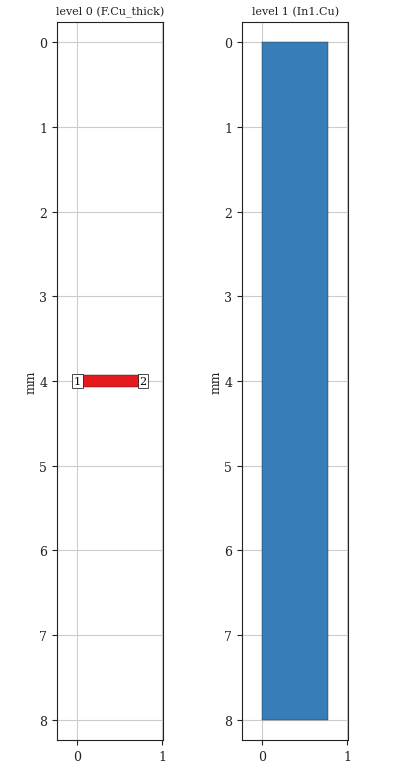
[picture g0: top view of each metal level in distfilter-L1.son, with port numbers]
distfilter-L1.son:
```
FTYP SONPROJ 19 ! Sonnet Project File
VER 18.56
HEADER
LIC antikernel2.1.51813
DAT 10/20/2022 21:59:31
BUILT_BY_CREATED xgeom 18.54 09/23/2022 20:17:08
BUILT_BY_SAVED sonnet 18.56
MDATE 10/20/2022 21:59:31
HDATE 10/20/2022 21:59:31
ANN Created by dxfgeo, Sonnet Software Inc.
END HEADER
DIM
ANG DEG
CAP FF
CON /OH
FREQ GHZ
IND PH
LNG MM
RES OH
END DIM
CONTROL
VARSWP
OPTIONS  -dj
SPEED 0
CACHE_ABS 2
Q_ACC N
END CONTROL
GEO
SYM
TMET "Free Space" 0 FREESPACE 376.7303136 0 0 0
BMET "Free Space" 0 FREESPACE 376.7303136 0 0 0
MET "Copper_1oz+plated_thick_up" 1 TMM 58000000 0.5 0.0432 2
MET "Copper_1oz+plated_thin" 4 NOR 58000000 0.5 0.0432 
MET "Copper_0.5oz_thin" 2 NOR 58000000 0.5 0.0175 
MET "Copper_1oz+plated_thick_down" 3 TMM 58000000 0.5 0.0432 2 CDVY TDWN
MET "Copper 35um" 1 VOL 58000000 0.035
BOX 4 0.775 8 62 640 20 0
      10 1 1 0 0 0 0 "Air"
      0.2021 3.61 1 0.0092 0 0 0 "Isola_FR408HR"
      1.1938 3.61 1 0.0092 0 0 0 "Isola_FR408HR"
      0.2021 3.61 1 0.0092 0 0 0 "Isola_FR408HR"
      10 1 1 0 0 0 0 "Air"
TECHLAY VIA Via1 L3D0 -7 -65534 CAD Via1 drawing 
VIA POLYGON
0 0 4 N 295 1 1 100 100 0 0 0 Y
TOLEVEL 3 RING NOCOVERS
END
END
TECHLAY METAL F.Cu_thick L1D0 -1 -65534 CAD F.Cu drawing 
0 0 0 N 238 1 1 100 100 0 0 0 Y
END
END
TECHLAY METAL F.Cu_thin <UNSPECIFIED> -2 -65534 CAD F.Cu_thin drawing 
0 0 1 N 242 1 1 100 100 0 0 0 Y
END
END
TECHLAY METAL In1.Cu L2D0 -3 -65534 CAD In1.Cu drawing 
1 0 2 N 245 1 1 100 100 0 0 0 Y
END
END
TECHLAY METAL In2.Cu <UNSPECIFIED> -4 -65534 CAD In2.Cu drawing 
2 0 2 N 248 1 1 100 100 0 0 0 Y
END
END
TECHLAY METAL B.Cu_thin <UNSPECIFIED> -6 -65534 CAD B.Cu_thin drawing 
3 0 1 N 251 1 1 100 100 0 0 0 Y
END
END
TECHLAY METAL B.Cu_thick <UNSPECIFIED> -5 -65534 CAD B.Cu drawing 
3 0 3 N 253 1 1 100 100 0 0 0 Y
END
END
DIM STD YDIR -1
POS -0.3455796718 -0.1344317981
NOM 0.15
REF1 POLY 222 1
3
REF2 POLY 222 1
0
END
LORGN 0 8 U 
POR1 BOX
POLY 222 1
3
1 50 0 0 0 0 4 
POR1 BOX
POLY 222 1
1
2 50 0 0 0 0.775 4 
NUM 2
0 5 0 N 222 1 1 100 100 0 0 0 Y
TLAYNAM F.Cu_thick INH
0 3.925
0.775 3.925
0.775 4.075
0 4.075
0 3.925
END
1 5 2 N 83 1 1 100 100 0 0 0 Y
TLAYNAM In1.Cu INH
USER_DAT FromImport
0.775 0
0 0
0 8
0.775 8
0.775 0
END
END GEO
OPT
MAX 100
END OPT
VARSWP
ENABLED Y
FREQ Y AY ABS_ENTRY 0.1 16.0 -1 300 
END
END VARSWP
```
